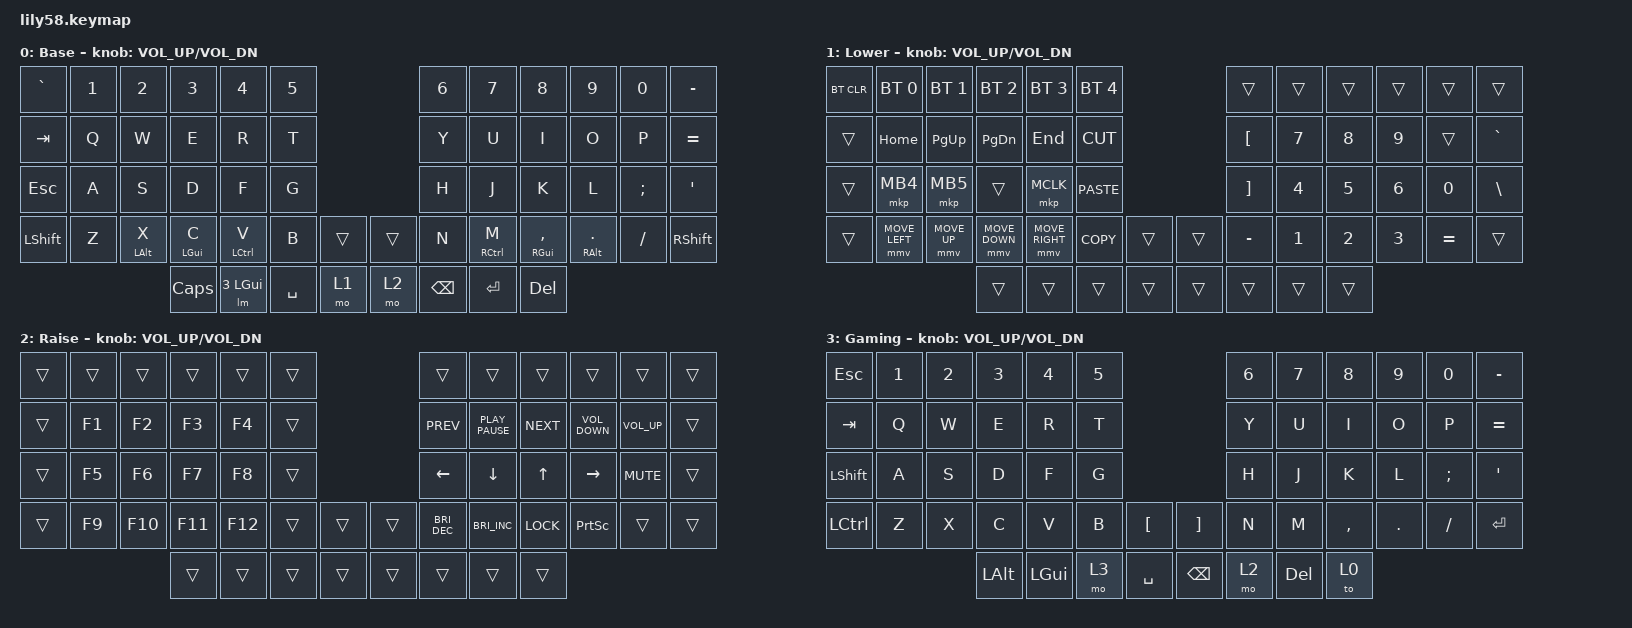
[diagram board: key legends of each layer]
/*
 * Copyright (c) 2020 The ZMK Contributors
 *
 * SPDX-License-Identifier: MIT
 */

#include <zephyr/dt-bindings/input/input-event-codes.h>
#include <behaviors.dtsi>
#include <dt-bindings/zmk/bt.h>
#include <dt-bindings/zmk/keys.h>
#include <dt-bindings/zmk/pointing.h>

/ {
    behaviors {
        hmr: hmr {
            compatible = "zmk,behavior-hold-tap";
            label = "HMR";
            bindings = <&kp>, <&kp>;

            #binding-cells = <2>;
            tapping-term-ms = <300>;
            quick-tap-ms = <200>;
            flavor = "balanced";
            hold-trigger-on-release;
            hold-trigger-key-positions = <31 32 33 34>;
        };

        hml: hml {
            compatible = "zmk,behavior-hold-tap";
            label = "HML";
            bindings = <&kp>, <&kp>;

            #binding-cells = <2>;
            tapping-term-ms = <300>;
            quick-tap-ms = <200>;
            flavor = "balanced";
            hold-trigger-key-positions = <28 27 26 25>;
            hold-trigger-on-release;
        };
    };

    combos {
        compatible = "zmk,combos";

        Gaming-Layer {
            bindings = <&to 0>;
            key-positions = <0 11>;
            layers = <0>;
        };
    };

    macros {
        lm: lm {
            compatible = "zmk,behavior-macro-two-param";
            wait-ms = <0>;
            tap-ms = <0>;
            #binding-cells = <2>;
            bindings =
                <&macro_param_1to1>,
                <&macro_press>,
                <&mo MACRO_PLACEHOLDER &macro_param_2to1>,
                <&macro_press>,
                <&kp MACRO_PLACEHOLDER>,
                <&macro_pause_for_release>,
                <&macro_param_2to1>,
                <&macro_release>,
                <&kp MACRO_PLACEHOLDER &macro_param_1to1>,
                <&macro_release>,
                <&mo MACRO_PLACEHOLDER>;
        };
    };

    // Trackpad pinch to zoom: the driver taps INPUT_BTN_5 to zoom in and INPUT_BTN_6 to zoom out.

    zip_tps43_zoom: zip_tps43_zoom {
        compatible = "zmk,input-processor-behaviors";
        #input-processor-cells = <0>;
        type = <INPUT_EV_KEY>;
        codes = <INPUT_BTN_5 INPUT_BTN_6>;
        bindings = <&kp LC(EQUAL)>, <&kp LC(MINUS)>;
    };

    keymap {
        compatible = "zmk,keymap";

        default_layer {
            // ------------------------------------------------------------------------------------------------------------
            // |  ESC  |  1  |  2  |  3   |  4   |  5   |                   |  6   |  7    |  8    |  9   |   0   |   `   |
            // |  TAB  |  Q  |  W  |  E   |  R   |  T   |                   |  Y   |  U    |  I    |  O   |   P   |   -   |
            // |  CTRL |  A  |  S  |  D   |  F   |  G   |                   |  H   |  J    |  K    |  L   |   ;   |   '   |
            // | SHIFT |  Z  |  X  |  C   |  V   |  B   |   "["  |  |  "]"  |  N   |  M    |  ,    |  .   |   /   | SHIFT |
            //                     | ALT  | GUI  | LOWER|  SPACE |  | ENTER | RAISE| BSPC  | GUI   |

            display-name = "Base";
            bindings = <
&kp GRAVE   &kp N1  &kp N2           &kp N3           &kp N4        &kp N5                       &kp N6         &kp N7        &kp N8                &kp N9              &kp N0         &kp MINUS
&kp TAB     &kp Q   &kp W            &kp E            &kp R         &kp T                        &kp Y          &kp U         &kp I                 &kp O               &kp P          &kp EQUAL
&kp ESCAPE  &kp A   &kp S            &kp D            &kp F         &kp G                        &kp H          &kp J         &kp K                 &kp L               &kp SEMICOLON  &kp SQT
&kp LSHFT   &kp Z   &hml LEFT_ALT X  &hml LEFT_GUI C  &hml LCTRL V  &kp B      &trans    &trans  &kp N          &hmr RCTRL M  &hmr RIGHT_GUI COMMA  &hmr RIGHT_ALT DOT  &kp FSLH       &kp RIGHT_SHIFT
                                     &kp CLCK         &lm 3 LGUI    &kp SPACE  &mo 1     &mo 2   &kp BACKSPACE  &kp ENTER     &kp DELETE
            >;

            sensor-bindings = <&inc_dec_kp C_VOL_UP C_VOL_DN>;
        };

        lower_layer {
            // ------------------------------------------------------------------------------------------------------------
            // | BTCLR | BT1 | BT2 |  BT3 |  BT4 |  BT5 |                   |      |       |       |      |       |       |
            // |  F1   |  F2 |  F3 |  F4  |  F5  |  F6  |                   |  F7  |  F8   |  F9   |  F10 |  F11  |  F12  |
            // |   `   |  !  |  @  |  #   |  $   |  %   |                   |  ^   |  &    |  *    |  (   |   )   |   ~   |
            // |       |     |     |      |      |      |        |  |       |      |  _    |  +    |  {   |   }   |  "|"  |
            //                     |      |      |      |        |  |       |      |       |       |

            display-name = "Lower";
            bindings = <
&bt BT_CLR  &bt BT_SEL 0    &bt BT_SEL 1  &bt BT_SEL 2    &bt BT_SEL 3     &bt BT_SEL 4                    &trans             &trans        &trans        &trans        &trans     &trans
&trans      &kp HOME        &kp PAGE_UP   &kp PAGE_DOWN   &kp END          &kp K_CUT                       &kp LEFT_BRACKET   &kp N7        &kp N8        &kp N9        &trans     &kp GRAVE
&trans      &mkp MB4        &mkp MB5      &trans          &mkp MCLK        &kp K_PASTE                     &kp RIGHT_BRACKET  &kp NUMBER_4  &kp N5        &kp NUMBER_6  &kp N0     &kp BACKSLASH
&trans      &mmv MOVE_LEFT  &mmv MOVE_UP  &mmv MOVE_DOWN  &mmv MOVE_RIGHT  &kp K_COPY    &trans    &trans  &kp MINUS          &kp NUMBER_1  &kp NUMBER_2  &kp NUMBER_3  &kp EQUAL  &trans
                                          &trans          &trans           &trans        &trans    &trans  &trans             &trans        &trans
            >;

            sensor-bindings = <&inc_dec_kp C_VOL_UP C_VOL_DN>;
        };

        raise_layer {
            // ------------------------------------------------------------------------------------------------------------
            // |       |     |     |      |      |      |                   |      |       |       |      |       |       |
            // |   `   |  1  |  2  |  3   |  4   |  5   |                   |  6   |   7   |   8   |  9   |   0   |       |
            // |   F1  |  F2 |  F3 |  F4  |  F5  |  F6  |                   |      |   <-  |   v   |  ^   |  ->   |       |
            // |   F7  |  F8 |  F9 |  F10 |  F11 |  F12 |        |  |       |  +   |   -   |   =   |  [   |   ]   |   \   |
            //                     |      |      |      |        |  |       |      |       |       |

            display-name = "Raise";
            bindings = <
&trans  &trans  &trans   &trans   &trans   &trans                    &trans                &trans                &trans      &trans             &trans           &trans
&trans  &kp F1  &kp F2   &kp F3   &kp F4   &trans                    &kp K_PREV            &kp K_PLAY_PAUSE      &kp K_NEXT  &kp C_VOLUME_DOWN  &kp C_VOLUME_UP  &trans
&trans  &kp F5  &kp F6   &kp F7   &kp F8   &trans                    &kp LEFT              &kp DOWN              &kp UP      &kp RIGHT          &kp K_MUTE       &trans
&trans  &kp F9  &kp F10  &kp F11  &kp F12  &trans  &trans    &trans  &kp C_BRIGHTNESS_DEC  &kp C_BRIGHTNESS_INC  &kp K_LOCK  &kp PRINTSCREEN    &trans           &trans
                         &trans   &trans   &trans  &trans    &trans  &trans                &trans                &trans
            >;

            sensor-bindings = <&inc_dec_kp C_VOL_UP C_VOL_DN>;
        };

        gaming {
            display-name = "Gaming";
            bindings = <
&kp ESCAPE      &kp N1  &kp N2  &kp N3    &kp N4    &kp N5                              &kp N6  &kp N7      &kp N8     &kp N9   &kp N0         &kp MINUS
&kp TAB         &kp Q   &kp W   &kp E     &kp R     &kp T                               &kp Y   &kp U       &kp I      &kp O    &kp P          &kp EQUAL
&kp LEFT_SHIFT  &kp A   &kp S   &kp D     &kp F     &kp G                               &kp H   &kp J       &kp K      &kp L    &kp SEMICOLON  &kp SQT
&kp LCTRL       &kp Z   &kp X   &kp C     &kp V     &kp B   &kp LBKT     &kp RBKT       &kp N   &kp M       &kp COMMA  &kp DOT  &kp FSLH       &kp ENTER
                                &kp LALT  &kp LGUI  &mo 3   &kp SPACE    &kp BACKSPACE  &mo 2   &kp DELETE  &to 0
            >;

            sensor-bindings = <&inc_dec_kp C_VOL_UP C_VOL_DN>;
        };
    };
};

&tps43_listener { input-processors = <&zip_tps43_zoom>; };
